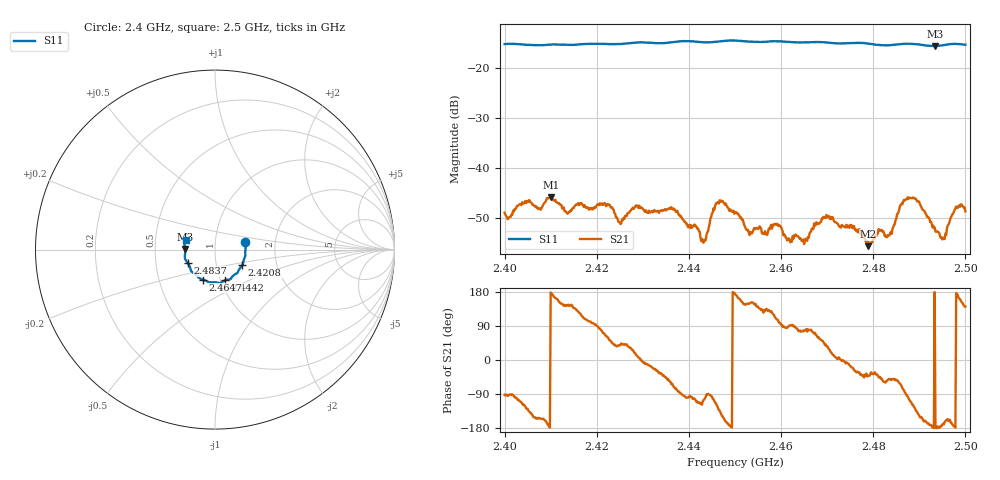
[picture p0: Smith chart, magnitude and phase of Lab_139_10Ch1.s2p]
# Hz S RI R 50
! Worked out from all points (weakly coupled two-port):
!   601 points, 2.4 GHz to 2.5 GHz, reference 50 ohm
!   highest |S21| = -45.83 dB at 2.41 GHz (marker M1); lowest = -55.6 dB at 2.4788 GHz (marker M2)
!   lowest |S11| = -15.6 dB at 2.4935 GHz (marker M3), VSWR 1.40, Z = 35.8 + j0.205 ohm
!   |S11| at or under -10 dB: start of sweep to end of sweep
!   S12 and S22 are empty: the file has one direction only
!   S11 on the Smith chart (normalised r, x): 2.4 GHz: 1.40, +0.12; 2.4208 GHz: 1.33, -0.24; 2.4442 GHz: 1.05, -0.37; 2.4647 GHz: 0.83, -0.29; 2.4837 GHz: 0.73, -0.11; 2.5 GHz: 0.72, +0.08
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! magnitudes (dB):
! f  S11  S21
! 2.4 GHz  -15.2  -48.9
! 2.41 GHz  -15.3  -45.8
! 2.4167 GHz  -15.2  -47.0
! 2.4208 GHz  -15.2  -47.3
! 2.4252 GHz  -15.2  -51.2
! 2.4333 GHz  -15.1  -48.6
! 2.4432 GHz  -14.9  -55.0
! 2.4442 GHz  -14.9  -52.7
! 2.4463 GHz  -14.7  -46.8
! 2.45 GHz  -14.5  -48.8
! 2.4532 GHz  -14.7  -53.4
! 2.4647 GHz  -14.9  -54.6
! 2.4667 GHz  -14.8  -52.2
! 2.4703 GHz  -14.9  -49.6
! 2.4788 GHz  -15.1  -55.6
! 2.4833 GHz  -15.5  -53.5
! 2.4837 GHz  -15.4  -53.0
! 2.488 GHz  -15.2  -45.9
! 2.4935 GHz  -15.6  -52.7
! 2.4953 GHz  -15.4  -54.0
! 2.498 GHz  -15.2  -47.7
! 2.5 GHz  -15.3  -48.7
